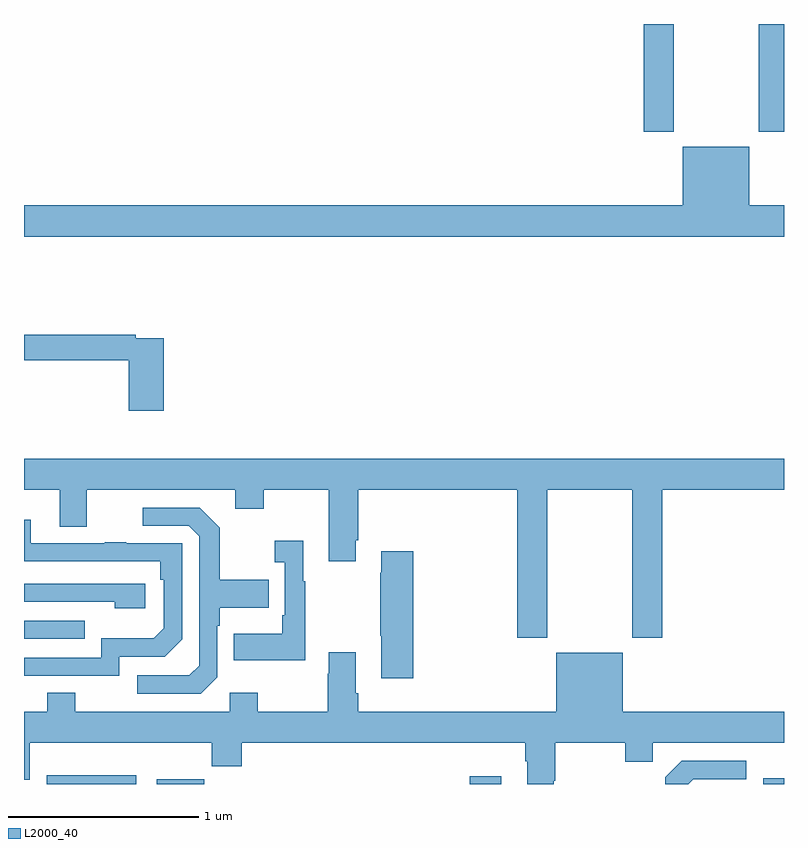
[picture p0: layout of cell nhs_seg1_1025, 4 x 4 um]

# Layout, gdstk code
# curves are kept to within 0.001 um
import gdstk
lib = gdstk.Library(unit=1e-6, precision=1e-09)
def R(c, l, rs):  # rectangles x0, y0, x1, y1
    for r in rs: c.add(gdstk.rectangle(r[:2], r[2:], *l))
def P(c, l, *ps):  # polygons
    for p in ps: c.add(gdstk.Polygon(p, *l))
L2000_40 = (2000, 40)

nhs_seg1_1025 = lib.new_cell('nhs_seg1_1025')
R(nhs_seg1_1025, L2000_40, [(167.12,534.199,167.59,534.244), (167.699,534.199,167.948,534.223), (169.346,534.199,169.513,534.241), (170.892,534.199,171,534.228), (167,534.963,167.321,535.059), (170.261,537.633,170.421,538.199), (170.866,537.633,171,538.199)])
P(nhs_seg1_1025, L2000_40, [(171,537.244),(170.818,537.244),(170.818,537.553),(170.468,537.553),(170.468,537.244),(167,537.244),(167,537.08),(171,537.08)],
  [(167.735,536.544),(167.588,536.544),(167.588,536.564),(167,536.564),(167,536.428),(167.552,536.428),(167.552,536.163),(167.735,536.163)],
  [(169.755,535.748),(170.2,535.748),(170.2,534.969),(170.36,534.969),(170.36,535.748),(171,535.748),(171,535.912),(167,535.912),(167,535.748),(167.189,535.748),(167.189,535.554),(167.329,535.554),(167.329,535.748),(168.113,535.748),(168.113,535.649),(168.261,535.649),(168.261,535.748),(168.605,535.748),(168.605,535.371),(168.745,535.371),(168.745,535.483),(168.758,535.483),(168.758,535.748),(169.595,535.748),(169.595,534.969),(169.755,534.969)],
  [(168.018,534.762),(168.018,535.031),(168.031,535.031),(168.031,535.127),(168.287,535.127),(168.287,535.275),(168.031,535.275),(168.031,535.547),(167.925,535.653),(167.625,535.653),(167.625,535.557),(167.868,535.557),(167.922,535.503),(167.922,534.822),(167.871,534.771),(167.595,534.771),(167.595,534.675),(167.931,534.675)],
  [(167.502,534.87),(167.742,534.87),(167.832,534.96),(167.832,535.467),(167.537,535.467),(167.537,535.472),(167.425,535.472),(167.425,535.467),(167.035,535.467),(167.035,535.591),(167,535.591),(167,535.372),(167.716,535.371),(167.716,535.274),(167.736,535.274),(167.736,535.02),(167.683,534.967),(167.406,534.967),(167.406,534.864),(167,534.864),(167,534.768),(167.502,534.768)],
  [(168.481,535.267),(168.469,535.267),(168.469,535.48),(168.321,535.48),(168.321,535.367),(168.372,535.367),(168.372,535.087),(168.36,535.087),(168.36,534.991),(168.103,534.991),(168.103,534.851),(168.481,534.851)],
  [(169.049,535.423),(168.881,535.423),(168.881,535.31),(168.874,535.31),(168.874,534.979),(168.881,534.979),(168.881,534.756),(169.049,534.756)],
  [(167.638,535.254),(167,535.254),(167,535.158),(167.477,535.158),(167.477,535.124),(167.638,535.124)],
  [(169.789,534.217),(169.797,534.217),(169.797,534.416),(170.164,534.416),(170.164,534.317),(170.31,534.317),(170.31,534.416),(171,534.416),(171,534.58),(170.152,534.58),(170.152,534.889),(169.802,534.889),(169.802,534.58),(168.758,534.58),(168.758,534.676),(168.745,534.676),(168.745,534.892),(168.605,534.892),(168.605,534.779),(168.598,534.779),(168.598,534.58),(168.231,534.58),(168.231,534.679),(168.084,534.679),(168.084,534.58),(167.271,534.58),(167.271,534.679),(167.123,534.679),(167.123,534.58),(167,534.58),(167,534.222),(167.029,534.222),(167.029,534.416),(167.989,534.416),(167.989,534.292),(168.146,534.292),(168.146,534.416),(169.637,534.416),(169.637,534.32),(169.649,534.32),(169.649,534.199),(169.789,534.199)],
  [(170.523,534.225),(170.8,534.225),(170.8,534.321),(170.463,534.321),(170.376,534.234),(170.376,534.199),(170.497,534.199)])

lib.write_gds('nhs_seg1_1025.gds')
